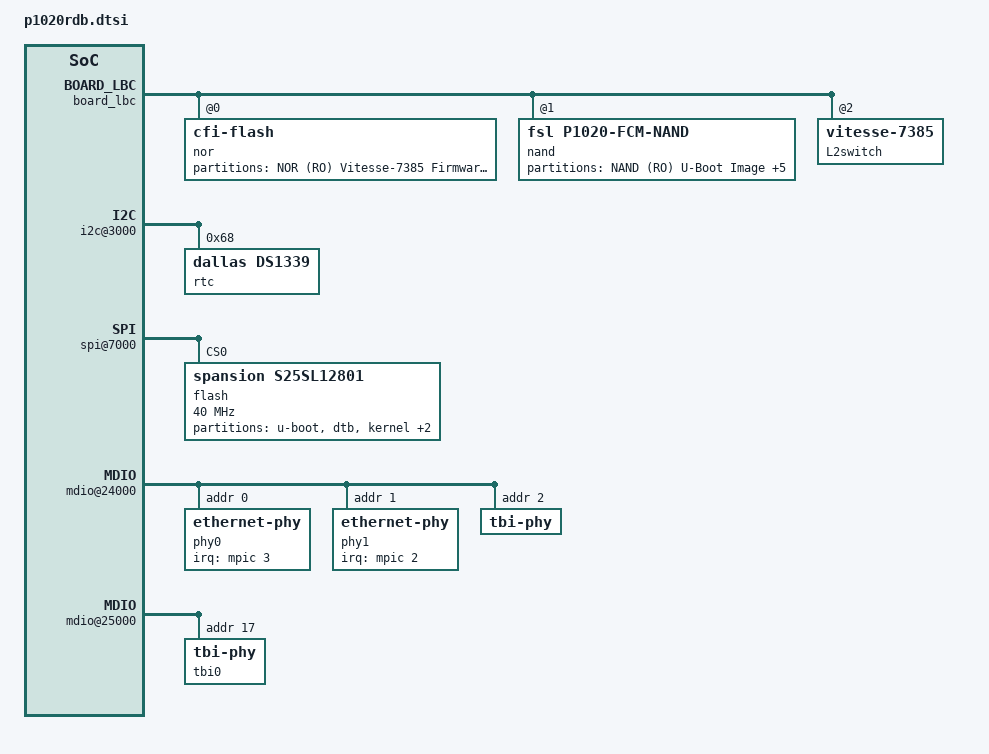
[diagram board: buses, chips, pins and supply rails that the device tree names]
/*
 * P1020 RDB Device Tree Source stub (no addresses or top-level ranges)
 *
 * Copyright 2011-2012 Freescale Semiconductor Inc.
 *
 * Redistribution and use in source and binary forms, with or without
 * modification, are permitted provided that the following conditions are met:
 *     * Redistributions of source code must retain the above copyright
 *       notice, this list of conditions and the following disclaimer.
 *     * Redistributions in binary form must reproduce the above copyright
 *       notice, this list of conditions and the following disclaimer in the
 *       documentation and/or other materials provided with the distribution.
 *     * Neither the name of Freescale Semiconductor nor the
 *       names of its contributors may be used to endorse or promote products
 *       derived from this software without specific prior written permission.
 *
 *
 * ALTERNATIVELY, this software may be distributed under the terms of the
 * GNU General Public License ("GPL") as published by the Free Software
 * Foundation, either version 2 of that License or (at your option) any
 * later version.
 *
 * THIS SOFTWARE IS PROVIDED BY Freescale Semiconductor ``AS IS'' AND ANY
 * EXPRESS OR IMPLIED WARRANTIES, INCLUDING, BUT NOT LIMITED TO, THE IMPLIED
 * WARRANTIES OF MERCHANTABILITY AND FITNESS FOR A PARTICULAR PURPOSE ARE
 * DISCLAIMED. IN NO EVENT SHALL Freescale Semiconductor BE LIABLE FOR ANY
 * DIRECT, INDIRECT, INCIDENTAL, SPECIAL, EXEMPLARY, OR CONSEQUENTIAL DAMAGES
 * (INCLUDING, BUT NOT LIMITED TO, PROCUREMENT OF SUBSTITUTE GOODS OR SERVICES;
 * LOSS OF USE, DATA, OR PROFITS; OR BUSINESS INTERRUPTION) HOWEVER CAUSED AND
 * ON ANY THEORY OF LIABILITY, WHETHER IN CONTRACT, STRICT LIABILITY, OR TORT
 * (INCLUDING NEGLIGENCE OR OTHERWISE) ARISING IN ANY WAY OUT OF THE USE OF THIS
 * SOFTWARE, EVEN IF ADVISED OF THE POSSIBILITY OF SUCH DAMAGE.
 */

&board_lbc {
	nor@0,0 {
		#address-cells = <1>;
		#size-cells = <1>;
		compatible = "cfi-flash";
		reg = <0x0 0x0 0x1000000>;
		bank-width = <2>;
		device-width = <1>;

		partition@0 {
			/* This location must not be altered  */
			/* 256KB for Vitesse 7385 Switch firmware */
			reg = <0x0 0x00040000>;
			label = "NOR (RO) Vitesse-7385 Firmware";
			read-only;
		};

		partition@40000 {
			/* 256KB for DTB Image */
			reg = <0x00040000 0x00040000>;
			label = "NOR (RO) DTB Image";
			read-only;
		};

		partition@80000 {
			/* 3.5 MB for Linux Kernel Image */
			reg = <0x00080000 0x00380000>;
			label = "NOR (RO) Linux Kernel Image";
			read-only;
		};

		partition@400000 {
			/* 11MB for JFFS2 based Root file System */
			reg = <0x00400000 0x00b00000>;
			label = "NOR (RW) JFFS2 Root File System";
		};

		partition@f00000 {
			/* This location must not be altered  */
			/* 512KB for u-boot Bootloader Image */
			/* 512KB for u-boot Environment Variables */
			reg = <0x00f00000 0x00100000>;
			label = "NOR (RO) U-Boot Image";
			read-only;
		};
	};

	nand@1,0 {
		#address-cells = <1>;
		#size-cells = <1>;
		compatible = "fsl,p1020-fcm-nand",
			     "fsl,elbc-fcm-nand";
		reg = <0x1 0x0 0x40000>;

		partition@0 {
			/* This location must not be altered  */
			/* 1MB for u-boot Bootloader Image */
			reg = <0x0 0x00100000>;
			label = "NAND (RO) U-Boot Image";
			read-only;
		};

		partition@100000 {
			/* 1MB for DTB Image */
			reg = <0x00100000 0x00100000>;
			label = "NAND (RO) DTB Image";
			read-only;
		};

		partition@200000 {
			/* 4MB for Linux Kernel Image */
			reg = <0x00200000 0x00400000>;
			label = "NAND (RO) Linux Kernel Image";
			read-only;
		};

		partition@600000 {
			/* 4MB for Compressed Root file System Image */
			reg = <0x00600000 0x00400000>;
			label = "NAND (RO) Compressed RFS Image";
			read-only;
		};

		partition@a00000 {
			/* 7MB for JFFS2 based Root file System */
			reg = <0x00a00000 0x00700000>;
			label = "NAND (RW) JFFS2 Root File System";
		};

		partition@1100000 {
			/* 15MB for JFFS2 based Root file System */
			reg = <0x01100000 0x00f00000>;
			label = "NAND (RW) Writable User area";
		};
	};

	L2switch@2,0 {
		#address-cells = <1>;
		#size-cells = <1>;
		compatible = "vitesse-7385";
		reg = <0x2 0x0 0x20000>;
	};
};

&board_soc {
	i2c@3000 {
		rtc@68 {
			compatible = "dallas,ds1339";
			reg = <0x68>;
		};
	};

	spi@7000 {
		flash@0 {
			#address-cells = <1>;
			#size-cells = <1>;
			compatible = "spansion,s25sl12801";
			reg = <0>;
			spi-max-frequency = <40000000>; /* input clock */

			partition@u-boot {
				/* 512KB for u-boot Bootloader Image */
				reg = <0x0 0x00080000>;
				label = "u-boot";
				read-only;
			};

			partition@dtb {
				/* 512KB for DTB Image */
				reg = <0x00080000 0x00080000>;
				label = "dtb";
				read-only;
			};

			partition@kernel {
				/* 4MB for Linux Kernel Image */
				reg = <0x00100000 0x00400000>;
				label = "kernel";
				read-only;
			};

			partition@fs {
				/* 4MB for Compressed RFS Image */
				reg = <0x00500000 0x00400000>;
				label = "file system";
				read-only;
			};

			partition@jffs-fs {
				/* 7MB for JFFS2 based RFS */
				reg = <0x00900000 0x00700000>;
				label = "file system jffs2";
			};
		};
	};

	usb@22000 {
		phy_type = "ulpi";
		dr_mode = "host";
	};

	/* USB2 is shared with localbus. It is used
	   only in case of SPI and SD boot after
	   appropriate device-tree fixup done by uboot */
	usb@23000 {
		phy_type = "ulpi";
		dr_mode = "host";
	};

	mdio@24000 {
		phy0: ethernet-phy@0 {
			interrupt-parent = <&mpic>;
			interrupts = <3 1>;
			reg = <0x0>;
		};

		phy1: ethernet-phy@1 {
			interrupt-parent = <&mpic>;
			interrupts = <2 1>;
			reg = <0x1>;
		};

		tbi-phy@2 {
			device_type = "tbi-phy";
			reg = <0x2>;
		};
	};

	mdio@25000 {
		tbi0: tbi-phy@11 {
			reg = <0x11>;
			device_type = "tbi-phy";
		};
	};

	enet0: ethernet@b0000 {
		fixed-link = <1 1 1000 0 0>;
		phy-connection-type = "rgmii-id";

	};

	enet1: ethernet@b1000 {
		phy-handle = <&phy0>;
		tbi-handle = <&tbi0>;
		phy-connection-type = "sgmii";
	};

	enet2: ethernet@b2000 {
		phy-handle = <&phy1>;
		phy-connection-type = "rgmii-id";
	};
};
